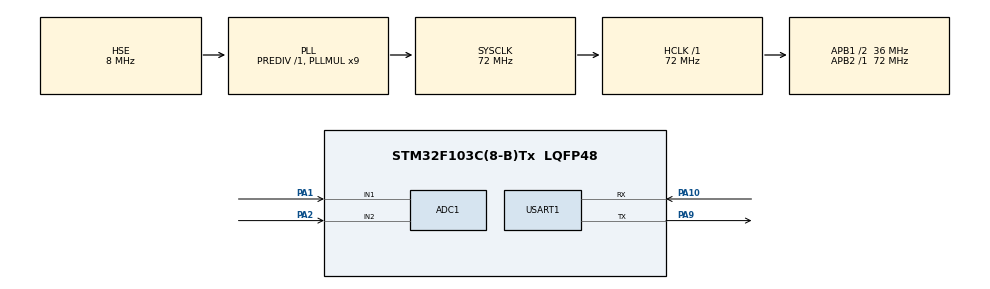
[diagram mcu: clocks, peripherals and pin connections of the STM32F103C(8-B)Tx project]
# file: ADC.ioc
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ADC1.Channel-1\#ChannelRegularConversion=ADC_CHANNEL_1
ADC1.Channel-5\#ChannelRegularConversion=ADC_CHANNEL_2
ADC1.Channel-6\#ChannelRegularConversion=ADC_CHANNEL_TEMPSENSOR
ADC1.Channel-7\#ChannelRegularConversion=ADC_CHANNEL_VREFINT
ADC1.ContinuousConvMode=DISABLE
ADC1.ExternalTrigConv=ADC_SOFTWARE_START
ADC1.NbrOfConversion=4
ADC1.NbrOfConversionFlag=1
ADC1.Rank-1\#ChannelRegularConversion=1
ADC1.Rank-5\#ChannelRegularConversion=2
ADC1.Rank-6\#ChannelRegularConversion=3
ADC1.Rank-7\#ChannelRegularConversion=4
ADC1.SamplingTime-1\#ChannelRegularConversion=ADC_SAMPLETIME_71CYCLES_5
ADC1.SamplingTime-5\#ChannelRegularConversion=ADC_SAMPLETIME_71CYCLES_5
ADC1.SamplingTime-6\#ChannelRegularConversion=ADC_SAMPLETIME_71CYCLES_5
ADC1.SamplingTime-7\#ChannelRegularConversion=ADC_SAMPLETIME_71CYCLES_5
ADC1.master=1
Dma.ADC1.0.Direction=DMA_PERIPH_TO_MEMORY
Dma.ADC1.0.Instance=DMA1_Channel1
Dma.ADC1.0.MemDataAlignment=DMA_MDATAALIGN_HALFWORD
Dma.ADC1.0.MemInc=DMA_MINC_ENABLE
Dma.ADC1.0.Mode=DMA_NORMAL
Dma.ADC1.0.PeriphDataAlignment=DMA_PDATAALIGN_HALFWORD
Dma.ADC1.0.PeriphInc=DMA_PINC_DISABLE
Dma.ADC1.0.Priority=DMA_PRIORITY_LOW
Dma.Request0=ADC1
Mcu.Family=STM32F1
Mcu.Name=STM32F103C(8-B)Tx
Mcu.Package=LQFP48
NVIC.DMA1_Channel1_IRQn=true\:0\:0\:false\:false\:true\:false\:true\:true
NVIC.PriorityGroup=NVIC_PRIORITYGROUP_4
PA1.Signal=ADCx_IN1
PA10.Mode=Asynchronous
PA10.Signal=USART1_RX
PA13.Mode=Serial_Wire
PA13.Signal=SYS_JTMS-SWDIO
PA14.Mode=Serial_Wire
PA14.Signal=SYS_JTCK-SWCLK
PA2.Signal=ADCx_IN2
PA9.Mode=Asynchronous
PA9.Signal=USART1_TX
PD0-OSC_IN.Mode=HSE-External-Oscillator
PD0-OSC_IN.Signal=RCC_OSC_IN
PD1-OSC_OUT.Mode=HSE-External-Oscillator
PD1-OSC_OUT.Signal=RCC_OSC_OUT
ProjectManager.HeapSize=0x200
ProjectManager.StackSize=0x400
ProjectManager.TargetToolchain=CMake
RCC.ADCPresc=RCC_ADCPCLK2_DIV6
RCC.AHBFreq_Value=72000000
RCC.APB1CLKDivider=RCC_HCLK_DIV2
RCC.APB1Freq_Value=36000000
RCC.APB1TimFreq_Value=72000000
RCC.APB2Freq_Value=72000000
RCC.APB2TimFreq_Value=72000000
RCC.HCLKFreq_Value=72000000
RCC.PLLMUL=RCC_PLL_MUL9
RCC.PLLSourceVirtual=RCC_PLLSOURCE_HSE
RCC.SYSCLKFreq_VALUE=72000000
RCC.SYSCLKSource=RCC_SYSCLKSOURCE_PLLCLK
RCC.USBFreq_Value=72000000
SH.ADCx_IN1.0=ADC1_IN1,IN1
SH.ADCx_IN2.0=ADC1_IN2,IN2
USART1.VirtualMode=VM_ASYNC
VP_ADC1_TempSens_Input.Mode=IN-TempSens
VP_ADC1_Vref_Input.Mode=IN-Vrefint
board=custom

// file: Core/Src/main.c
/* USER CODE BEGIN Header */
/**
  ******************************************************************************
  * @file           : main.c
  * @brief          : Main program body
  ******************************************************************************
  * @attention
  *
  * Copyright (c) 2026 STMicroelectronics.
  * All rights reserved.
  *
  * This software is licensed under terms that can be found in the LICENSE file
  * in the root directory of this software component.
  * If no LICENSE file comes with this software, it is provided AS-IS.
  *
  ******************************************************************************
  */
/* USER CODE END Header */
#include "main.h"
#include "stm32f1xx_hal_adc.h"

/* USER CODE BEGIN Includes */
#include <stdint.h>
#include <stdio.h>
#include<string.h>
/* USER CODE END Includes */

ADC_HandleTypeDef hadc1;
DMA_HandleTypeDef hdma_adc1;

UART_HandleTypeDef huart1;

/* USER CODE BEGIN PV */
uint8_t adc_flag = 0;
/* USER CODE END PV */

void SystemClock_Config(void);
static void MX_GPIO_Init(void);
static void MX_DMA_Init(void);
static void MX_ADC1_Init(void);
static void MX_USART1_UART_Init(void);

/* USER CODE BEGIN 0 */
void HAL_ADC_ConvCpltCallback(ADC_HandleTypeDef* hadc)
{
  if(hadc == &hadc1)
  {
    adc_flag = 1;
  }
}
/* USER CODE END 0 */

int main(void)
{

  /* MCU Configuration--------------------------------------------------------*/

  /* Reset of all peripherals, Initializes the Flash interface and the Systick. */
  HAL_Init();

  /* Configure the system clock */
  SystemClock_Config();

  /* Initialize all configured peripherals */
  MX_GPIO_Init();
  MX_DMA_Init();
  MX_ADC1_Init();
  MX_USART1_UART_Init();
  /* USER CODE BEGIN 2 */
uint16_t values[4];
char message[50] = "" ;
uint32_t last_time = 0;
uint32_t current_time = 0;

HAL_ADCEx_Calibration_Start(&hadc1);
HAL_ADC_Start_DMA(&hadc1);
  /* USER CODE END 2 */

  /* Infinite loop */
  /* USER CODE BEGIN WHILE */
  while (1)
  {

    current_time = HAL_GetTick();

    if(current_time - last_time > 500)
    {
      if(adc_flag == 1)
      {
        adc_flag = 0;

        sprintf(message,"%d %d %d %d",values[0],values[1],values[2],values[3]);
        HAL_UART_Transmit(&huart1,(uint8_t *)message,strlen(message),100);

        HAL_ADC_Start_DMA(&hadc1,(uint32_t *)values,sizeof(values) / sizeof(uint16_t));
      }
      last_time = HAL_GetTick();
    }
    /* USER CODE END WHILE */

  }
}

void SystemClock_Config(void)
{
  RCC_OscInitTypeDef RCC_OscInitStruct = {0};
  RCC_ClkInitTypeDef RCC_ClkInitStruct = {0};
  RCC_PeriphCLKInitTypeDef PeriphClkInit = {0};

  /** Initializes the RCC Oscillators according to the specified parameters
  * in the RCC_OscInitTypeDef structure.
  */
  RCC_OscInitStruct.OscillatorType = RCC_OSCILLATORTYPE_HSE;
  RCC_OscInitStruct.HSEState = RCC_HSE_ON;
  RCC_OscInitStruct.HSEPredivValue = RCC_HSE_PREDIV_DIV1;
  RCC_OscInitStruct.HSIState = RCC_HSI_ON;
  RCC_OscInitStruct.PLL.PLLState = RCC_PLL_ON;
  RCC_OscInitStruct.PLL.PLLSource = RCC_PLLSOURCE_HSE;
  RCC_OscInitStruct.PLL.PLLMUL = RCC_PLL_MUL9;
  if (HAL_RCC_OscConfig(&RCC_OscInitStruct) != HAL_OK)
  {
    Error_Handler();
  }

  /** Initializes the CPU, AHB and APB buses clocks
  */
  RCC_ClkInitStruct.ClockType = RCC_CLOCKTYPE_HCLK|RCC_CLOCKTYPE_SYSCLK
                              |RCC_CLOCKTYPE_PCLK1|RCC_CLOCKTYPE_PCLK2;
  RCC_ClkInitStruct.SYSCLKSource = RCC_SYSCLKSOURCE_PLLCLK;
  RCC_ClkInitStruct.AHBCLKDivider = RCC_SYSCLK_DIV1;
  RCC_ClkInitStruct.APB1CLKDivider = RCC_HCLK_DIV2;
  RCC_ClkInitStruct.APB2CLKDivider = RCC_HCLK_DIV1;

  if (HAL_RCC_ClockConfig(&RCC_ClkInitStruct, FLASH_LATENCY_2) != HAL_OK)
  {
    Error_Handler();
  }
  PeriphClkInit.PeriphClockSelection = RCC_PERIPHCLK_ADC;
  PeriphClkInit.AdcClockSelection = RCC_ADCPCLK2_DIV6;
  if (HAL_RCCEx_PeriphCLKConfig(&PeriphClkInit) != HAL_OK)
  {
    Error_Handler();
  }
}

static void MX_ADC1_Init(void)
{

  ADC_ChannelConfTypeDef sConfig = {0};

  /** Common config
  */
  hadc1.Instance = ADC1;
  hadc1.Init.ScanConvMode = ADC_SCAN_ENABLE;
  hadc1.Init.ContinuousConvMode = DISABLE;
  hadc1.Init.DiscontinuousConvMode = DISABLE;
  hadc1.Init.ExternalTrigConv = ADC_SOFTWARE_START;
  hadc1.Init.DataAlign = ADC_DATAALIGN_RIGHT;
  hadc1.Init.NbrOfConversion = 4;
  if (HAL_ADC_Init(&hadc1) != HAL_OK)
  {
    Error_Handler();
  }

  /** Configure Regular Channel
  */
  sConfig.Channel = ADC_CHANNEL_1;
  sConfig.Rank = ADC_REGULAR_RANK_1;
  sConfig.SamplingTime = ADC_SAMPLETIME_71CYCLES_5;
  if (HAL_ADC_ConfigChannel(&hadc1, &sConfig) != HAL_OK)
  {
    Error_Handler();
  }

  /** Configure Regular Channel
  */
  sConfig.Channel = ADC_CHANNEL_2;
  sConfig.Rank = ADC_REGULAR_RANK_2;
  if (HAL_ADC_ConfigChannel(&hadc1, &sConfig) != HAL_OK)
  {
    Error_Handler();
  }

  /** Configure Regular Channel
  */
  sConfig.Channel = ADC_CHANNEL_TEMPSENSOR;
  sConfig.Rank = ADC_REGULAR_RANK_3;
  if (HAL_ADC_ConfigChannel(&hadc1, &sConfig) != HAL_OK)
  {
    Error_Handler();
  }

  /** Configure Regular Channel
  */
  sConfig.Channel = ADC_CHANNEL_VREFINT;
  sConfig.Rank = ADC_REGULAR_RANK_4;
  if (HAL_ADC_ConfigChannel(&hadc1, &sConfig) != HAL_OK)
  {
    Error_Handler();
  }

}

static void MX_USART1_UART_Init(void)
{

  huart1.Instance = USART1;
  huart1.Init.BaudRate = 115200;
  huart1.Init.WordLength = UART_WORDLENGTH_8B;
  huart1.Init.StopBits = UART_STOPBITS_1;
  huart1.Init.Parity = UART_PARITY_NONE;
  huart1.Init.Mode = UART_MODE_TX_RX;
  huart1.Init.HwFlowCtl = UART_HWCONTROL_NONE;
  huart1.Init.OverSampling = UART_OVERSAMPLING_16;
  if (HAL_UART_Init(&huart1) != HAL_OK)
  {
    Error_Handler();
  }

}

static void MX_DMA_Init(void)
{

  /* DMA controller clock enable */
  __HAL_RCC_DMA1_CLK_ENABLE();

  /* DMA interrupt init */
  /* DMA1_Channel1_IRQn interrupt configuration */
  HAL_NVIC_SetPriority(DMA1_Channel1_IRQn, 0, 0);
  HAL_NVIC_EnableIRQ(DMA1_Channel1_IRQn);

}

static void MX_GPIO_Init(void)
{

  /* GPIO Ports Clock Enable */
  __HAL_RCC_GPIOD_CLK_ENABLE();
  __HAL_RCC_GPIOA_CLK_ENABLE();

}

void Error_Handler(void)
{
  __disable_irq();
  while (1)
  {
  }
}
